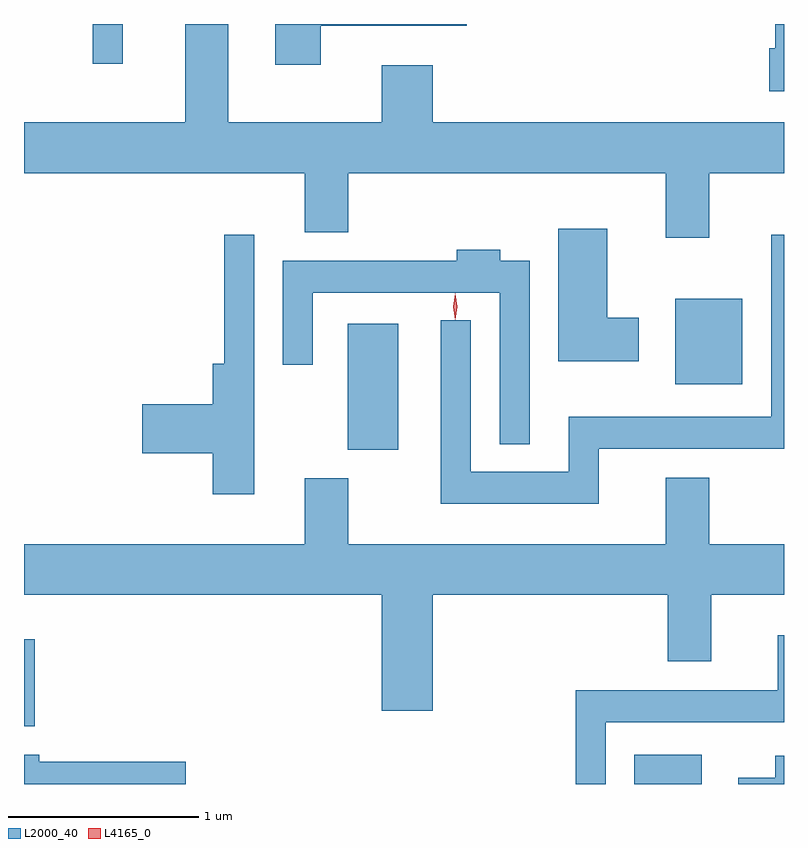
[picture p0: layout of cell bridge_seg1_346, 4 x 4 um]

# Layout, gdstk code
import gdstk
lib = gdstk.Library(unit=1e-6, precision=1e-09)
def R(c, l, rs):  # rectangles x0, y0, x1, y1
    for r in rs: c.add(gdstk.rectangle(r[:2], r[2:], *l))
def P(c, l, *ps):  # polygons
    for p in ps: c.add(gdstk.Polygon(p, *l))
L2000_40 = (2000, 40)
L4165_0 = (4165, 0)

bridge_seg1_346 = lib.new_cell('bridge_seg1_346')
R(bridge_seg1_346, L2000_40, [(935.686,883.041,936.039,883.194), (932.473,883.346,932.529,883.804), (934.176,884.801,934.444,885.464), (935.901,885.146,936.254,885.594), (932.836,886.833,932.994,887.041)])
P(bridge_seg1_346, L2000_40, [(936.079,886.256),(936.473,886.256),(936.473,886.524),(934.624,886.524),(934.624,886.824),(934.356,886.824),(934.356,886.524),(933.549,886.524),(933.549,887.041),(933.321,887.041),(933.321,886.524),(932.473,886.524),(932.473,886.256),(933.951,886.256),(933.951,885.946),(934.179,885.946),(934.179,886.256),(935.851,886.256),(935.851,885.916),(936.079,885.916)],
  [(936.473,887.041),(936.426,887.041),(936.426,886.914),(936.396,886.914),(936.396,886.686),(936.473,886.686)],
  [(934.034,887.031),(934.804,887.031),(934.804,887.041),(933.796,887.041),(933.796,886.826),(934.034,886.826)],
  [(935.709,885.494),(935.544,885.494),(935.544,885.964),(935.286,885.964),(935.286,885.266),(935.709,885.266)],
  [(933.684,885.933),(933.526,885.933),(933.526,885.254),(933.466,885.254),(933.466,885.039),(933.096,885.039),(933.096,884.781),(933.466,884.781),(933.466,884.566),(933.684,884.566)],
  [(935.499,884.806),(936.473,884.806),(936.473,885.933),(936.406,885.933),(936.406,884.974),(935.341,884.974),(935.341,884.684),(934.824,884.684),(934.824,885.483),(934.666,885.483),(934.666,884.516),(935.499,884.516)],
  [(935.134,885.794),(934.979,885.794),(934.979,885.854),(934.751,885.854),(934.751,885.794),(933.836,885.794),(933.836,885.248),(933.994,885.248),(933.994,885.626),(934.976,885.626),(934.976,884.828),(935.134,884.828)],
  [(934.624,884.036),(935.861,884.036),(935.861,883.686),(936.089,883.686),(936.089,884.036),(936.473,884.036),(936.473,884.304),(936.079,884.304),(936.079,884.654),(935.851,884.654),(935.851,884.304),(934.179,884.304),(934.179,884.649),(933.951,884.649),(933.951,884.304),(932.473,884.304),(932.473,884.036),(934.356,884.036),(934.356,883.426),(934.624,883.426)],
  [(935.534,883.366),(936.473,883.366),(936.473,883.824),(936.441,883.824),(936.441,883.534),(935.376,883.534),(935.376,883.041),(935.534,883.041)],
  [(933.324,883.159),(932.554,883.159),(932.554,883.194),(932.473,883.194),(932.473,883.041),(933.324,883.041)],
  [(936.473,883.189),(936.426,883.189),(936.426,883.074),(936.231,883.074),(936.231,883.041),(936.473,883.041)])
P(bridge_seg1_346, L4165_0, [(934.742,885.487),(934.733,885.554),(934.742,885.62),(934.743,885.62),(934.743,885.62),(934.753,885.554),(934.743,885.487),(934.743,885.487)],
  [(934.742,885.484),(934.733,885.553),(934.742,885.622),(934.743,885.623),(934.743,885.622),(934.753,885.553),(934.743,885.484),(934.743,885.484)])

lib.write_gds('bridge_seg1_346.gds')
